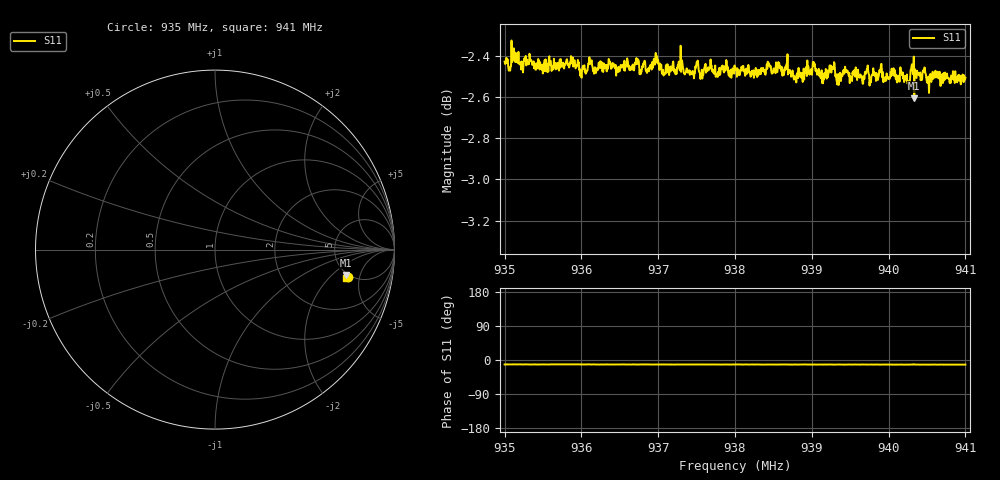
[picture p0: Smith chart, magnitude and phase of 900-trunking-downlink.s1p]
! Calibrated averaged scanner-service zoom
# Hz S RI R 50
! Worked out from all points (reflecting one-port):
!   1001 points, 935 MHz to 941 MHz, reference 50 ohm
!   lowest |S11| = -2.6 dB at 940.334 MHz (marker M1), VSWR 6.71, Z = 239 - j150 ohm
!   phase of S11 starts at -12 deg and turns -0 deg over the sweep
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9.35e8  0.7402 -0.1548
9.35054e8  0.7363 -0.1545
9.3512e8  0.7466 -0.1512
9.35216e8  0.7375 -0.1511
9.35342e8  0.7402 -0.1561
9.3575e8  0.7402 -0.1522
9.365e8  0.7364 -0.1535
9.36866e8  0.7368 -0.1513
9.36968e8  0.744 -0.1546
9.37064e8  0.737 -0.153
9.3719e8  0.7389 -0.158
9.3725e8  0.7375 -0.1534
9.38e8  0.737 -0.1559
9.38528e8  0.735 -0.1557
9.38654e8  0.7371 -0.1524
9.3875e8  0.7355 -0.1588
9.39038e8  0.7389 -0.1562
9.39146e8  0.7309 -0.1544
9.39266e8  0.7369 -0.1573
9.39332e8  0.7302 -0.1554
9.395e8  0.7334 -0.1569
9.39896e8  0.7357 -0.1612
9.3995e8  0.7318 -0.1557
9.40058e8  0.7361 -0.1564
9.4025e8  0.7301 -0.1581
9.40334e8  0.7271 -0.1415
9.40424e8  0.7329 -0.1601
9.41e8  0.7325 -0.1584
